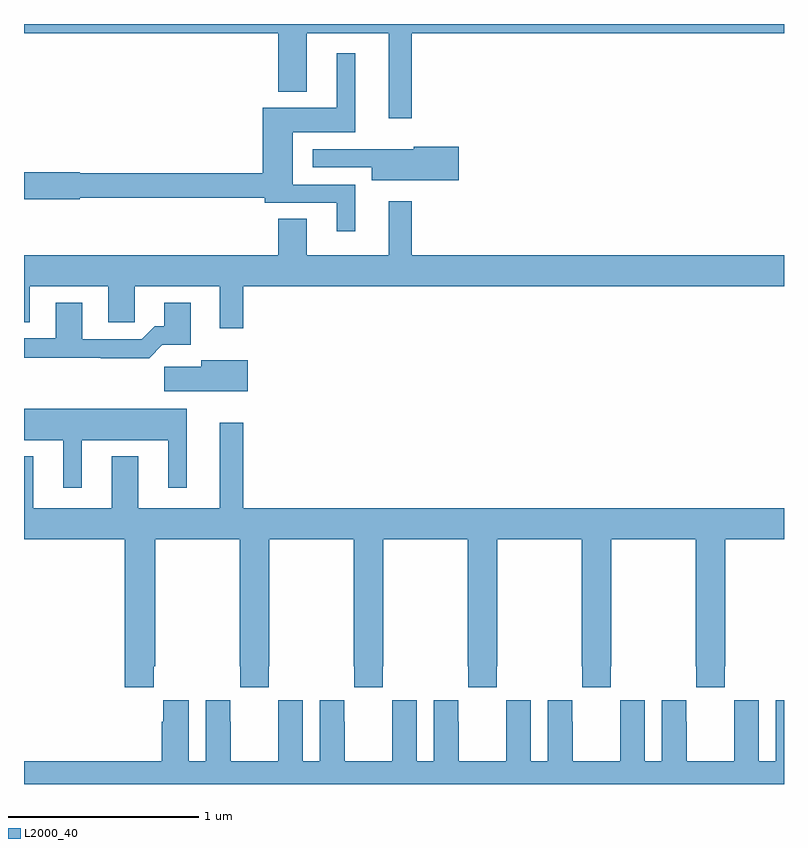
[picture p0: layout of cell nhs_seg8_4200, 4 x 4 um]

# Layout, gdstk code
import gdstk
lib = gdstk.Library(unit=1e-6, precision=1e-09)
def P(c, l, *ps):  # polygons
    for p in ps: c.add(gdstk.Polygon(p, *l))
L2000_40 = (2000, 40)

nhs_seg8_4200 = lib.new_cell('nhs_seg8_4200')
P(nhs_seg8_4200, L2000_40, [(371.041,1097.852),(373,1097.852),(373,1097.9),(369,1097.9),(369,1097.852),(370.337,1097.852),(370.337,1097.543),(370.489,1097.543),(370.489,1097.852),(370.919,1097.852),(370.919,1097.403),(371.041,1097.403)],
  [(370.744,1097.055),(370.414,1097.055),(370.414,1097.33),(370.744,1097.33),(370.744,1097.746),(370.646,1097.746),(370.646,1097.458),(370.256,1097.458),(370.256,1097.114),(369.294,1097.114),(369.294,1097.12),(369,1097.12),(369,1096.978),(369.294,1096.978),(369.294,1096.986),(370.268,1096.986),(370.268,1096.959),(370.646,1096.959),(370.646,1096.809),(370.744,1096.809)],
  [(371.287,1097.255),(371.052,1097.255),(371.052,1097.242),(370.833,1097.242),(370.833,1097.241),(370.521,1097.241),(370.521,1097.145),(370.829,1097.145),(370.829,1097.077),(371.287,1097.077)],
  [(370.153,1096.52),(373,1096.52),(373,1096.684),(371.041,1096.684),(371.041,1096.966),(370.919,1096.966),(370.919,1096.684),(370.489,1096.684),(370.489,1096.874),(370.337,1096.874),(370.337,1096.684),(369,1096.684),(369,1096.33),(369.031,1096.33),(369.031,1096.52),(369.443,1096.52),(369.443,1096.33),(369.582,1096.33),(369.582,1096.52),(370.031,1096.52),(370.031,1096.299),(370.153,1096.299)],
  [(369.728,1096.211),(369.877,1096.211),(369.877,1096.432),(369.737,1096.432),(369.737,1096.309),(369.688,1096.309),(369.621,1096.242),(369.307,1096.242),(369.307,1096.432),(369.167,1096.432),(369.167,1096.245),(369,1096.245),(369,1096.144),(369.403,1096.144),(369.403,1096.142),(369.659,1096.142)],
  [(370.177,1096.129),(369.932,1096.129),(369.932,1096.097),(369.738,1096.097),(369.738,1095.968),(370.177,1095.968)],
  [(369.304,1095.71),(369.758,1095.71),(369.758,1095.459),(369.856,1095.459),(369.856,1095.874),(369,1095.874),(369,1095.71),(369.206,1095.71),(369.206,1095.459),(369.304,1095.459)],
  [(370.153,1095.802),(370.031,1095.802),(370.031,1095.352),(369.601,1095.352),(369.601,1095.625),(369.461,1095.625),(369.461,1095.352),(369.049,1095.352),(369.049,1095.625),(369,1095.625),(369,1095.188),(369.53,1095.188),(369.53,1094.409),(369.683,1094.409),(369.683,1094.521),(369.69,1094.521),(369.69,1095.188),(370.135,1095.188),(370.135,1094.521),(370.137,1094.521),(370.137,1094.409),(370.287,1094.409),(370.287,1094.521),(370.29,1094.521),(370.29,1095.188),(370.735,1095.188),(370.735,1094.521),(370.737,1094.521),(370.737,1094.409),(370.887,1094.409),(370.887,1094.521),(370.89,1094.521),(370.89,1095.188),(371.335,1095.188),(371.335,1094.521),(371.337,1094.521),(371.337,1094.409),(371.487,1094.409),(371.487,1094.521),(371.49,1094.521),(371.49,1095.188),(371.935,1095.188),(371.935,1094.521),(371.937,1094.521),(371.937,1094.409),(372.087,1094.409),(372.087,1094.521),(372.09,1094.521),(372.09,1095.188),(372.535,1095.188),(372.535,1094.521),(372.537,1094.521),(372.537,1094.409),(372.687,1094.409),(372.687,1094.521),(372.69,1094.521),(372.69,1095.188),(373,1095.188),(373,1095.352),(370.153,1095.352)],
  [(372.738,1094.341),(372.738,1094.228),(372.737,1094.228),(372.737,1094.02),(372.487,1094.02),(372.487,1094.228),(372.486,1094.228),(372.486,1094.341),(372.356,1094.341),(372.356,1094.02),(372.268,1094.02),(372.268,1094.341),(372.138,1094.341),(372.138,1094.228),(372.137,1094.228),(372.137,1094.02),(371.887,1094.02),(371.887,1094.228),(371.886,1094.228),(371.886,1094.341),(371.756,1094.341),(371.756,1094.02),(371.668,1094.02),(371.668,1094.341),(371.538,1094.341),(371.538,1094.228),(371.537,1094.228),(371.537,1094.02),(371.287,1094.02),(371.287,1094.228),(371.286,1094.228),(371.286,1094.341),(371.156,1094.341),(371.156,1094.02),(371.068,1094.02),(371.068,1094.341),(370.938,1094.341),(370.938,1094.228),(370.937,1094.228),(370.937,1094.02),(370.687,1094.02),(370.687,1094.228),(370.686,1094.228),(370.686,1094.341),(370.556,1094.341),(370.556,1094.02),(370.468,1094.02),(370.468,1094.341),(370.338,1094.341),(370.338,1094.228),(370.337,1094.228),(370.337,1094.02),(370.087,1094.02),(370.087,1094.228),(370.086,1094.228),(370.086,1094.341),(369.956,1094.341),(369.956,1094.02),(369.868,1094.02),(369.868,1094.341),(369.734,1094.341),(369.734,1094.228),(369.725,1094.228),(369.725,1094.02),(369,1094.02),(369,1093.9),(373,1093.9),(373,1094.341),(372.956,1094.341),(372.956,1094.02),(372.868,1094.02),(372.868,1094.341)])

lib.write_gds('nhs_seg8_4200.gds')
